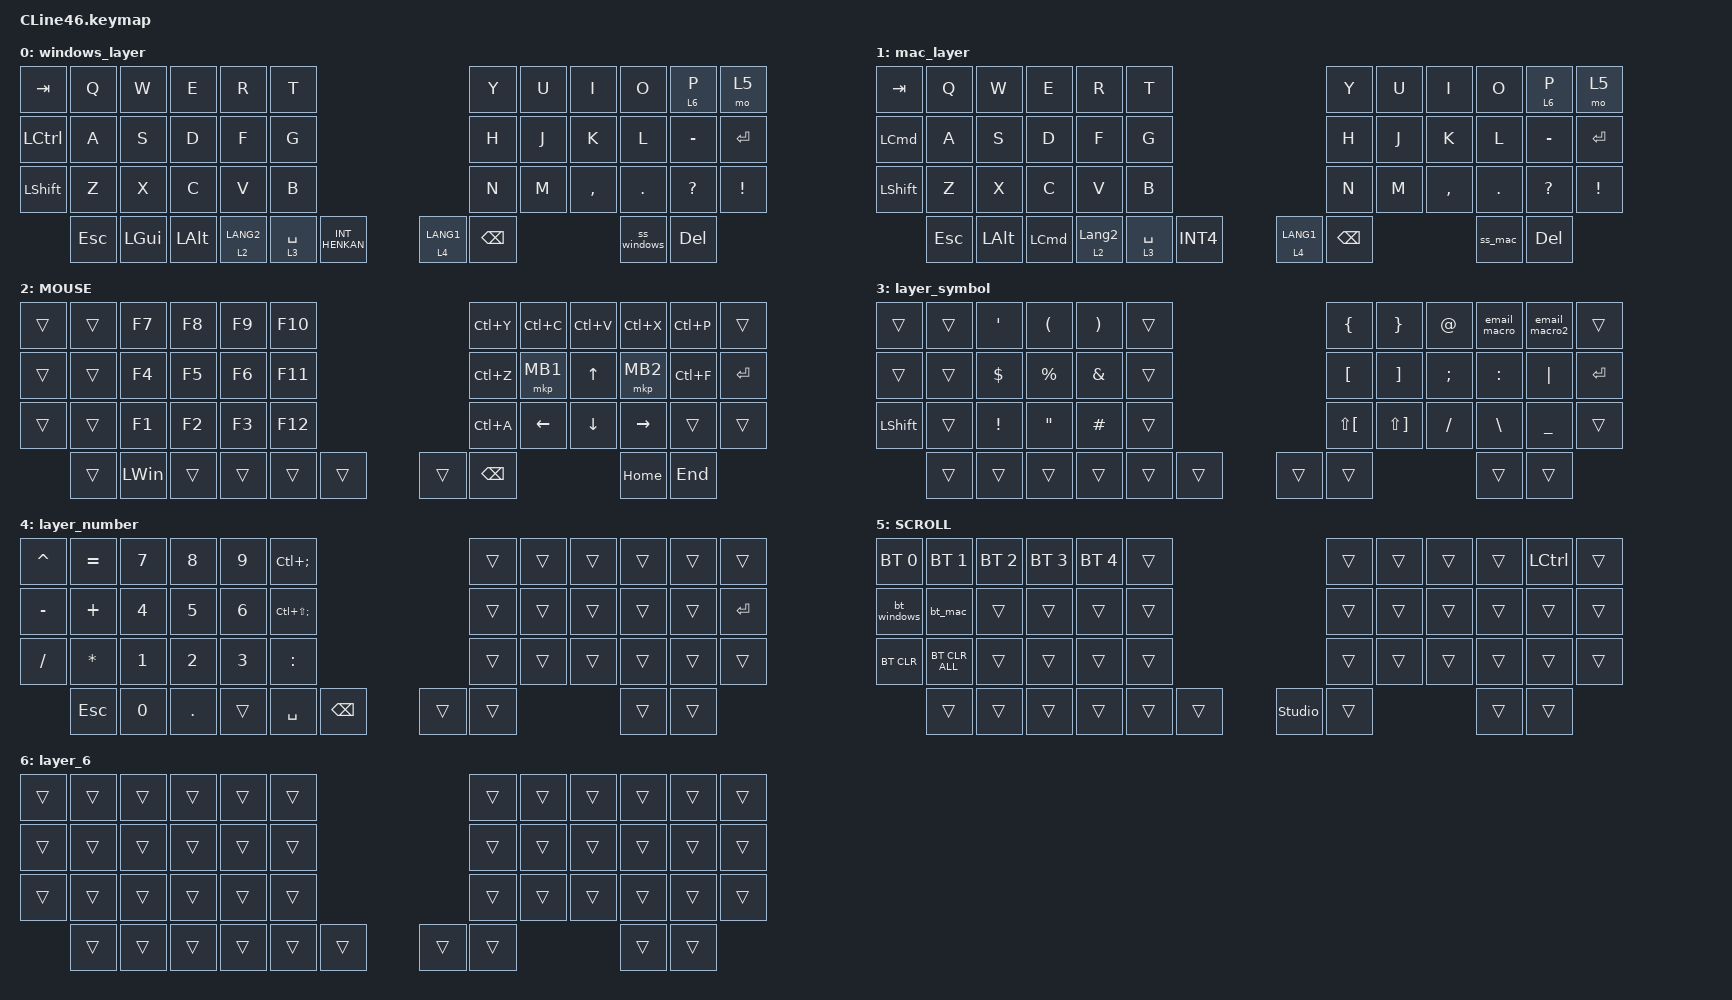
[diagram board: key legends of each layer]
#include <input/processors.dtsi>
#include <dt-bindings/zmk/input_transform.h>
#include <zephyr/dt-bindings/input/input-event-codes.h>
#include <behaviors.dtsi>
#include <dt-bindings/zmk/bt.h>
#include <dt-bindings/zmk/keys.h>
#include <dt-bindings/zmk/pointing.h>
#include <private_macros.dtsi>

&mt {
    flavor = "balanced";
    quick-tap-ms = <0>;
};

/ {
    combos {
        compatible = "zmk,combos";

        tab {
            bindings = <&kp TAB>;
            key-positions = <11 12>;
        };

        shift_tab {
            bindings = <&kp LS(TAB)>;
            key-positions = <12 13>;
        };
    };

    macros {
        to_layer_0: to_layer_0 {
            compatible = "zmk,behavior-macro-one-param";
            #binding-cells = <1>;
            bindings = <&to 0 &macro_param_1to1 &kp MACRO_PLACEHOLDER>;
            label = "TO_LAYER_0";
        };

        ss_windows: ss_windows {
            compatible = "zmk,behavior-macro";
            #binding-cells = <0>;
            bindings = <&kp LG(LS(S))>;
            label = "SS_WINDOWS";
        };

        ss_mac: ss_mac {
            compatible = "zmk,behavior-macro";
            #binding-cells = <0>;
            bindings = <&kp LG(LS(NUMBER_3))>;
            label = "SS_MAC";
        };

        bt_windows: bt_windows {
            compatible = "zmk,behavior-macro";
            #binding-cells = <0>;
            bindings = <&bt BT_SEL 0>, <&macro_wait_time 200>, <&to 0>;

            label = "BT_WINDOWS";
        };

        bt_mac: bt_mac {
            compatible = "zmk,behavior-macro";
            #binding-cells = <0>;
            bindings = <&bt BT_SEL 1>, <&macro_wait_time 200>, <&to 1>;

            label = "BT_MAC";
        };
    };

    behaviors {
        lt_to_layer_0: lt_to_layer_0 {
            compatible = "zmk,behavior-hold-tap";
            label = "LAYER_TAP_TO_0";
            bindings = <&mo>, <&to_layer_0>;

            #binding-cells = <2>;
            tapping-term-ms = <200>;
        };

        p_speed: p_speed {
            compatible = "zmk,behavior-hold-tap";
            label = "P_SPEED_BOOST";
            #binding-cells = <2>;
            tapping-term-ms = <400>;
            flavor = "tap-preferred";
            bindings = <&mo>, <&kp>;
        };
    };

    keymap {
        compatible = "zmk,keymap";

        windows_layer {
            bindings = <
&kp TAB     &kp Q    &kp W     &kp E     &kp R        &kp T                                                  &kp Y     &kp U  &kp I      &kp O        &p_speed 6 P  &mo 5
&kp LCTRL   &kp A    &kp S     &kp D     &kp F        &kp G                                                  &kp H     &kp J  &kp K      &kp L        &kp MINUS     &kp RET
&kp LSHIFT  &kp Z    &kp X     &kp C     &kp V        &kp B                                                  &kp N     &kp M  &kp COMMA  &kp DOT      &kp QUESTION  &kp EXCLAMATION
            &kp ESC  &kp LGUI  &kp LALT  &lt 2 LANG2  &lt 3 SPACE  &kp INT_HENKAN    &lt_to_layer_0 4 LANG1  &kp BSPC                    &ss_windows  &kp DEL
            >;
        };

        mac_layer {
            bindings = <
&kp TAB           &kp Q       &kp W         &kp E             &kp R             &kp T                                 &kp Y          &kp U  &kp I      &kp O       &p_speed 6 P  &mo 5
&kp LEFT_COMMAND  &kp A       &kp S         &kp D             &kp F             &kp G                                 &kp H          &kp J  &kp K      &kp L       &kp MINUS     &kp ENTER
&kp LEFT_SHIFT    &kp Z       &kp X         &kp C             &kp V             &kp B                                 &kp N          &kp M  &kp COMMA  &kp PERIOD  &kp QUESTION  &kp EXCLAMATION
                  &kp ESCAPE  &kp LEFT_ALT  &kp LEFT_COMMAND  &lt 2 LANGUAGE_2  &lt 3 SPACE  &kp INT4    &lt 4 LANG1  &kp BACKSPACE                    &ss_mac     &kp DELETE
            >;
        };

        MOUSE {
            bindings = <
&trans  &trans  &kp F7        &kp F8  &kp F9  &kp F10                    &kp LC(Y)  &kp LC(C)       &kp LC(V)       &kp LC(X)        &kp LC(P)  &trans
&trans  &trans  &kp F4        &kp F5  &kp F6  &kp F11                    &kp LC(Z)  &mkp MB1        &kp UP_ARROW    &mkp MB2         &kp LC(F)  &kp RETURN
&trans  &trans  &kp F1        &kp F2  &kp F3  &kp F12                    &kp LC(A)  &kp LEFT_ARROW  &kp DOWN_ARROW  &kp RIGHT_ARROW  &trans     &trans
        &trans  &kp LEFT_WIN  &trans  &trans  &trans   &trans    &trans  &kp BSPC                                   &kp HOME         &kp END
            >;
        };

        layer_symbol {
            bindings = <
&trans          &trans  &kp APOS  &kp LPAR   &kp RPAR   &trans                    &kp LEFT_BRACE  &kp RIGHT_BRACE  &kp AT_SIGN  &email_macro   &email_macro2   &trans
&trans          &trans  &kp DLLR  &kp PRCNT  &kp AMPS   &trans                    &kp LBKT        &kp RBKT         &kp SEMI     &kp COLON      &kp PIPE        &kp RETURN
&kp LEFT_SHIFT  &trans  &kp EXCL  &kp DQT    &kp POUND  &trans                    &kp LS(LBKT)    &kp LS(RBKT)     &kp FSLH     &kp BACKSLASH  &kp UNDERSCORE  &trans
                &trans  &trans    &trans     &trans     &trans  &trans    &trans  &trans                                        &trans         &trans
            >;
        };

        layer_number {
            bindings = <
&kp CARET  &kp EQUAL     &kp NUMBER_7  &kp NUMBER_8  &kp NUMBER_9  &kp LC(SEMI)                        &trans  &trans  &trans  &trans  &trans  &trans
&kp MINUS  &kp PLUS      &kp NUMBER_4  &kp NUMBER_5  &kp NUMBER_6  &kp LC(LS(SEMI))                    &trans  &trans  &trans  &trans  &trans  &kp ENTER
&kp SLASH  &kp ASTERISK  &kp NUMBER_1  &kp NUMBER_2  &kp NUMBER_3  &kp COLON                           &trans  &trans  &trans  &trans  &trans  &trans
           &kp ESC       &kp NUMBER_0  &kp DOT       &trans        &kp SPACE  &kp BACKSPACE    &trans  &trans                  &trans  &trans
            >;
        };

        SCROLL {
            bindings = <
&bt BT_SEL 0  &bt BT_SEL 1    &bt BT_SEL 2  &bt BT_SEL 3  &bt BT_SEL 4  &trans                            &trans  &trans  &trans  &trans  &kp LCTRL  &trans
&bt_windows   &bt_mac         &trans        &trans        &trans        &trans                            &trans  &trans  &trans  &trans  &trans  &trans
&bt BT_CLR    &bt BT_CLR_ALL  &trans        &trans        &trans        &trans                            &trans  &trans  &trans  &trans  &trans  &trans
              &trans          &trans        &trans        &trans        &trans  &trans    &studio_unlock  &trans                  &trans  &trans
            >;
        };

        layer_6 {
            bindings = <
&trans  &trans  &trans  &trans  &trans  &trans                    &trans  &trans  &trans  &trans  &trans  &trans
&trans  &trans  &trans  &trans  &trans  &trans                    &trans  &trans  &trans  &trans  &trans  &trans
&trans  &trans  &trans  &trans  &trans  &trans                    &trans  &trans  &trans  &trans  &trans  &trans
        &trans  &trans  &trans  &trans  &trans  &trans    &trans  &trans                  &trans  &trans
            >;
        };
    };
};
